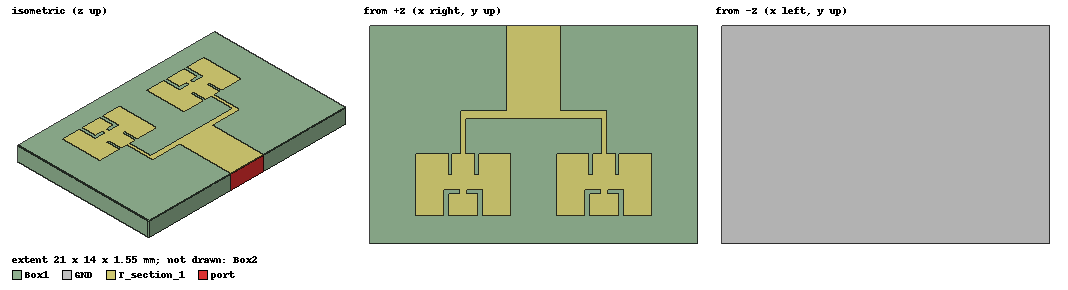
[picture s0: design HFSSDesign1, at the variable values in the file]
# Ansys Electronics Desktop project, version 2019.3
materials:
  vacuum: permittivity=1
  FR4_epoxy: permittivity=4.4 dielectric_loss_tangent=0.02

design HFSSDesign1 (HFSS, DrivenModal, model units mm)
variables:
  Ws = 21mm
  Ls = 14mm
  sub_height = 1.55mm
  Wp = 6.08mm
  Lp = 3.98mm
  Wf = 0.294mm  # optimise 0.147mm..0.441mm
  Lf = 2.5mm  # optimise 1.25mm..3.75mm
  Wgnd = 21mm
  Lgnd = 14mm
  Lslot = 200mm
  patch_xpos = 4.5mm  # optimise 2.4mm..7.2mm
  lamda = 22mm
  feeding_width = 3.5mm  # optimise 2mm..6mm
  l_feed_network = 2.73mm  # optimise 1.365mm..6mm
  W1 = 0.94mm
  slit = 0.45mm
  g1 = 0.3mm
  L1 = 1.4mm
  L_feed_network_2 = 2.73mm
  feeding_width_2 = 3.5mm
  Dh = 0.3mm
  Sh = 6e-05mm
  g2 = 0.3mm
  cut_x_pos = 0.5mm  # optimise 0.25mm..0.75mm
  g3 = 0.2mm
  L_cut = 1.32mm  # optimise 0.66mm..1.98mm
  W_Tsection = 0.5mm  # optimise 0.25mm..0.75mm
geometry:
  Box1 [FR4_epoxy] = box(corner=(-Ws/2, -Ls + (Lp/2 + Lf+W_Tsection/2+l_feed_network+L_feed_network_2), -sub_height/2), size=(Ws, Ls, sub_height))
  Box2 [vacuum] = box(corner=(-3*Ws/4, -3*Ls/4, -2.5mm), size=(1.5*Ws, 1.5*Ls, 5mm))
  GND = rectangle(corner=(-Wgnd/2, -Ls + (Lp/2 + Lf+W_Tsection/2+l_feed_network+L_feed_network_2), -sub_height/2), x_size=Wgnd, y_size=Lgnd)
  T_section = rectangle(corner=(-(patch_xpos+Wf/2), (Lf  + Lp/2 - W_Tsection/2), sub_height/2), x_size=patch_xpos + Wf/2, y_size=W_Tsection)
  port = rectangle(corner=(-(feeding_width_2/2), (Lp/2 + Lf+l_feed_network+L_feed_network_2+W_Tsection/2), -sub_height/2), z_size=sub_height, x_size=feeding_width_2)
  feeding_matching = rectangle(corner=(-(feeding_width/2), (Lp/2+Lf+W_Tsection/2), sub_height/2), x_size=feeding_width, y_size=l_feed_network)
  Box2.move(0mm, 3mm, 0mm)
  feeding_matching1 = rectangle(corner=(-(feeding_width_2/2), (Lp/2+Lf+W_Tsection/2+l_feed_network), sub_height/2), x_size=feeding_width_2, y_size=L_feed_network_2)
  Rectangle1 = rectangle(corner=(-Wp/2, -Lp/2, sub_height/2), x_size=Wp, y_size=Lp)
  Rectangle10 = rectangle(corner=(-(2*Dh+Wf)/2, (Lp/2-Sh), sub_height/2), x_size=2*Dh + Wf, y_size=Sh)
  Rectangle1.subtract(Rectangle10)
  Rectangle9 = rectangle(corner=(-Wf/2, Lp/2-Sh, sub_height/2), x_size=Wf, y_size=Lf)
  Rectangle1.unite(Rectangle9)
  Rectangle8 = rectangle(corner=(-W1, -Lp/2+L1, sub_height/2), x_size=W1-slit/2, y_size=g2)
  Rectangle7 = rectangle(corner=(-W1-g1, -Lp/2, sub_height/2), x_size=g1, y_size=L1+g2)
  Rectangle8.unite(Rectangle7)
  Rectangle8_1 = Rectangle8.duplicate_mirror(point=(0mm, 0mm, 0mm), normal=(1mm, 0mm, 0mm))
  Rectangle8_1.unite(Rectangle8)
  Rectangle1.subtract(Rectangle8_1)
  Rectangle11 = rectangle(corner=(-(Wf/2+Dh+cut_x_pos), (Lp/2-L_cut), sub_height/2), x_size=g3, y_size=L_cut)
  Rectangle11_1 = Rectangle11.duplicate_mirror(point=(0mm, 0mm, 0mm), normal=(1mm, 0mm, 0mm))
  Rectangle11.unite(Rectangle11_1)
  Rectangle1.subtract(Rectangle11)
  Rectangle1.move(-(patch_xpos), 0mm, 0mm)
  T_section.unite(Rectangle1)
  T_section_1 = T_section.duplicate_mirror(point=(0mm, 0mm, 0mm), normal=(1mm, 0mm, 0mm))
  T_section_1.unite(T_section)
  feeding_matching1.unite(feeding_matching)
  T_section_1.unite(feeding_matching1)
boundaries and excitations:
  Rad1: Radiation Objects=Box2
  FiniteCond2: Finite Conductivity Objects=GND Conductivity=58000000 Permeability=1 IsInternal
  FiniteCond3: Finite Conductivity Objects=T_section_1 Conductivity=58000000 Permeability=1 IsInternal
  1: Lumped Port Objects=port Modes{Mode1{IntLine{middle of port.edge(z at corner) -> middle of port.edge(z opposite corner)} CharImp=Zpi RenormImp=50ohm}} Impedance=50ohm
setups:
  Setup1: HfssDriven AdaptMultipleFreqs MultipleAdaptiveFreqsSetup{15GHz(0.02) 30GHz(0.02)} MaximumPasses=20 MinimumPasses=1 MinimumConvergedPasses=1 PercentRefinement=30 BasisOrder=1 PortAccuracy=2
    sweep Sweep: 10GHz to 35GHz, 400 points; Type=Fast SaveFields
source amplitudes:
  1:1: 1W 0deg
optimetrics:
  OptimizationSetup1: Optimization disabled Optimizer="Genetic Algorithm" AnalysisStopOptions{StopForNumIteration MaxNumIteration=1000 MinNumIteration=10} CostFuncNormType=L2 GAOptions{NumParents=30 ProportionOfParentSelProb=10 MatingPoolSize=30 NumChildren=30 NumParetoSurvivors=10 PopulationSize=30 RouletteSurvivorSelection ProportionOfSurvivorSelProb=10 CrossoverScheme=3 CrossoverProbability=1 VariableCrossoverProbability=1 VariableExchangeProbability=0 MuCross=1 GammaCross=0.5 NumMatingParents=2 MutationDistribution=2 UniformMutationProbability=0 MutationProbability=1 VariableMutationProbability=1 SigmaMut=0.05 SimplexMirrorProbability=0.1 MuMut=10} Acceptable_Cost=0 Noise=0.0001 UpdateDesignWhenDone
    goal ang_deg_val(Z(1,1)) <= 5 weight 1 on Setup1 : Sweep at Freq 15.0251256281407GHz,29.9748743718593GHz
    goal mag(Z(1,1)) <= 55 weight 2 on Setup1 : Sweep at Freq 15.0251256281407GHz,29.9748743718593GHz
    goal mag(Z(1,1)) >= 45 weight 2 on Setup1 : Sweep at Freq 15.0251256281407GHz,29.9748743718593GHz
    goal ang_deg_val(Z(1,1)) >= -5 weight 1 on Setup1 : Sweep at Freq 15.0251256281407GHz,29.9748743718593GHz
  OptimizationSetup2: Optimization disabled Optimizer="Genetic Algorithm" AnalysisStopOptions{StopForNumIteration MaxNumIteration=1000 MinNumIteration=10} CostFuncNormType=L2 GAOptions{NumParents=30 ProportionOfParentSelProb=10 MatingPoolSize=30 NumChildren=30 NumParetoSurvivors=10 PopulationSize=30 RouletteSurvivorSelection ProportionOfSurvivorSelProb=10 CrossoverScheme=3 CrossoverProbability=1 VariableCrossoverProbability=1 VariableExchangeProbability=0 MuCross=1 GammaCross=0.5 NumMatingParents=2 MutationDistribution=2 UniformMutationProbability=0 MutationProbability=1 VariableMutationProbability=1 SigmaMut=0.05 SimplexMirrorProbability=0.1 MuMut=10} Acceptable_Cost=0 Noise=0.0001 UpdateDesignWhenDone
    goal dB(S(1,1)) <= -22 weight 1 on Setup1 : Sweep at Freq 15.0251256281407GHz
    goal dB(S(1,1)) <= -22 weight 1 on Setup1 : Sweep at Freq 29.9748743718593GHz
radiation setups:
  Infinite Sphere1: Infinite Sphere Theta=-180deg..180deg step 2deg Phi=0deg..180deg step 2deg
  E_plane: Infinite Sphere Theta=-180deg..180deg step 2deg Phi=0deg..0deg step 0deg
  H_plane: Infinite Sphere Theta=-180deg..180deg step 2deg Phi=90deg..90deg step 0deg
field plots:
  Mag_Jsurf1: Jsurf over T_section_1.face(1 of 1) on Setup1 : LastAdaptive at Freq=30GHz Phase=0deg
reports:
  S11: dB(S(1,1)) vs Freq on Setup1 : Sweep; markers MX1 at x=1.5e+10, MX2 at x=3e+10
  15GHz 3D gain: GainTotal vs Phi, Theta on Setup1 : LastAdaptive, Infinite Sphere1 [Freq=15GHz]
  Zin (Smith Chart): Z(1,1) on Setup1 : LastAdaptive [Freq=all]; markers m1 at 15GHz, m2 at 30GHz
  30GHz 3D gain: GainTotal vs Phi, Theta on Setup1 : LastAdaptive, Infinite Sphere1 [Freq=30GHz]
  Zin vs frequency: re(Z(1,1)), im(Z(1,1)) vs Freq on Setup1 : Sweep; markers MX1 at x=1.5e+10, MX2 at x=3e+10
  15GHz H_plane gain: dB(GainPhi), dB(GainTheta) vs Theta on Setup1 : LastAdaptive, E_plane [Phi=all Freq=15GHz]; markers m1 at 0deg, m2 at 0deg
  15GHz E_plane gain: dB(GainPhi), dB(GainTheta) vs Theta on Setup1 : LastAdaptive, H_plane [Phi=all Freq=15GHz]; markers m1 at 0deg, m2 at 0deg
  30GHz H_plane gain: dB(GainPhi), dB(GainTheta) vs Theta on Setup1 : LastAdaptive, E_plane [Phi=all Freq=30GHz]; markers m1 at 0deg, m2 at 0deg
  30GHz E_plane gain: dB(GainPhi), dB(GainTheta) vs Theta on Setup1 : LastAdaptive, H_plane [Phi=all Freq=30GHz]; markers m1 at 0deg, m2 at 0deg
  VSWR: VSWR(1) vs Freq on Setup1 : Sweep; markers MX1 at x=1.5e+10, MX2 at x=3e+10
  Peak Gain: PeakGain vs Freq on Setup1 : Sweep [Freq=10GHz,11.0025GHz,12.005GHz,13.0075GHz,14.01GHz,15.0125GHz,16.015GHz,17.0175GHz,18.0201GHz,19.0226GHz,20.0251GHz,21.0276GHz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]; markers MX1 at x=1.5e+10, MX2 at x=3e+10
  Front to back ratio: FrontToBackRatio vs Freq on Setup1 : Sweep [Freq=10GHz,11.0025GHz,12.005GHz,13.0075GHz,14.01GHz,15.0125GHz,16.015GHz,17.0175GHz,18.0201GHz,19.0226GHz,20.0251GHz,21.0276GHz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]; markers MX1 at x=1.5e+10, MX2 at x=3e+10
  Radiation Efficiency: RadiationEfficiency vs Freq on Setup1 : Sweep [Freq=10GHz,11.0025GHz,12.005GHz,13.0075GHz,14.01GHz,15.0125GHz,16.015GHz,17.0175GHz,18.0201GHz,19.0226GHz,20.0251GHz,21.0276GHz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]; markers MX1 at x=1.5e+10, MX2 at x=3e+10
  XPD: dB(DirTheta) - dB(DirPhi) vs Freq on Setup1 : Sweep [Freq=10GHz,11.0025GHz,12.005GHz,13.0075GHz,14.01GHz,15.0125GHz,16.015GHz,17.0175GHz,18.0201GHz,19.0226GHz,20.0251GHz,21.0276GHz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]; markers MX1 at x=1.5e+10, MX2 at x=3e+10
